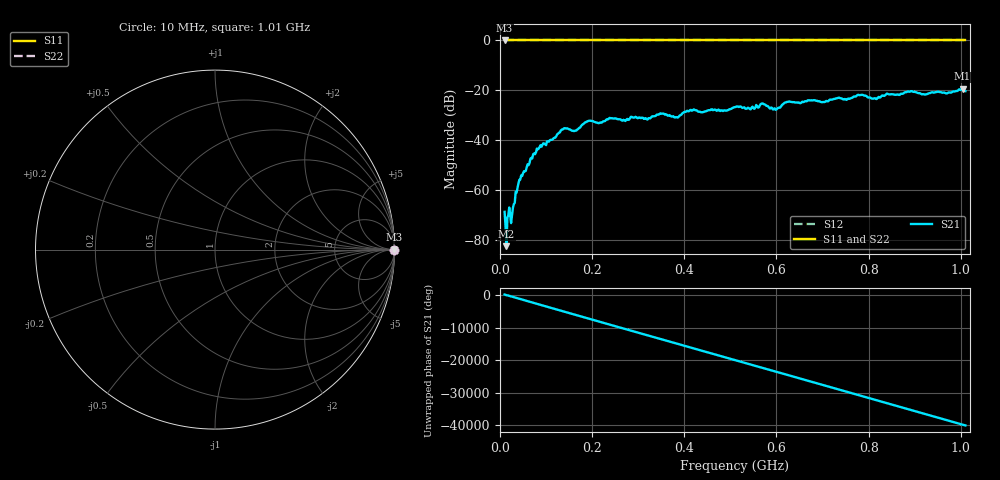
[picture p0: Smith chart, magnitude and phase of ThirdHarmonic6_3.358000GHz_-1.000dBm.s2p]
! 8/17/2025 10:37:09 AM
! C:\ANRITSUVNA\TEMP\TEMP.S2P
! CHANNEL.1
! TR.MEASUREMENT
! RAW.DATA
! RF.CORRECTION.OFF
! AVERAGING.OFF
! IF.BANDWIDTH: 5KHZ
! SWEEPTYPE:  FREQ.SWEEP(Linear)
! Reference Plane Port Info
! PORT:  PORT1  PORT2
! DISTANCE:  0  m  0  m
! TIME:  0  s  0  s
! PHASE.OFFSET:  0  deg.  0  deg.
! LOSS:  0  dB  0  dB
! REF.LOSS:  0  dB  0  dB
! REF.FREQ:  0  Hz  0  Hz
! Power Info
! POWER:  -20  dBm  -20  dBm
! EFF.POWER:  -20  dBm  -20  dBm
! SOURCE.ATTEN:  0  dB  0  dB
! TEST.ATTEN:  0  dB  0  dB
# GHZ S RI R 50.0
! FREQ.GHZ  S11RE  S11IM  S21RE  S21IM  S12RE  S12IM  S22RE  S22IM
!; PortSelection: Port_12
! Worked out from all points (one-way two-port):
!   501 points, 10 MHz to 1.01 GHz, reference 50 ohm
!   highest |S21| = -19.36 dB at 1.004 GHz (marker M1); lowest = -82.4 dB at 14 MHz (marker M2)
!   lowest |S11| = 0.0 dB at 10 MHz (marker M3)
!   |S11| at or under -10 dB: nowhere
!   |S22| runs from 0.0 to 0.0 dB; largest |S21 - S12| = 1.1
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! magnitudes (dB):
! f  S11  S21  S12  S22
! 10 MHz  0.0  -68.7  0.0  0.0
! 14 MHz  0.0  -82.4  0.0  0.0
! 28 MHz  0.0  -67.1  0.0  0.0
! 38 MHz  0.0  -59.1  0.0  0.0
! 44 MHz  0.0  -55.7  0.0  0.0
! 84 MHz  0.0  -43.3  0.0  0.0
! 136 MHz  0.0  -35.7  0.0  0.0
! 162 MHz  0.0  -36.3  0.0  0.0
! 178 MHz  0.0  -33.8  0.0  0.0
! 344 MHz  0.0  -29.8  0.0  0.0
! 382 MHz  0.0  -30.7  0.0  0.0
! 416 MHz  0.0  -28.1  0.0  0.0
! 510 MHz  0.0  -26.7  0.0  0.0
! 570 MHz  0.0  -25.3  0.0  0.0
! 596 MHz  0.0  -27.2  0.0  0.0
! 624 MHz  0.0  -24.6  0.0  0.0
! 678 MHz  0.0  -24.0  0.0  0.0
! 780 MHz  0.0  -21.9  0.0  0.0
! 814 MHz  0.0  -23.2  0.0  0.0
! 844 MHz  0.0  -21.6  0.0  0.0
! 1.004 GHz  0.0  -19.4  0.0  0.0
! 1.01 GHz  0.0  -20.3  0.0  0.0
